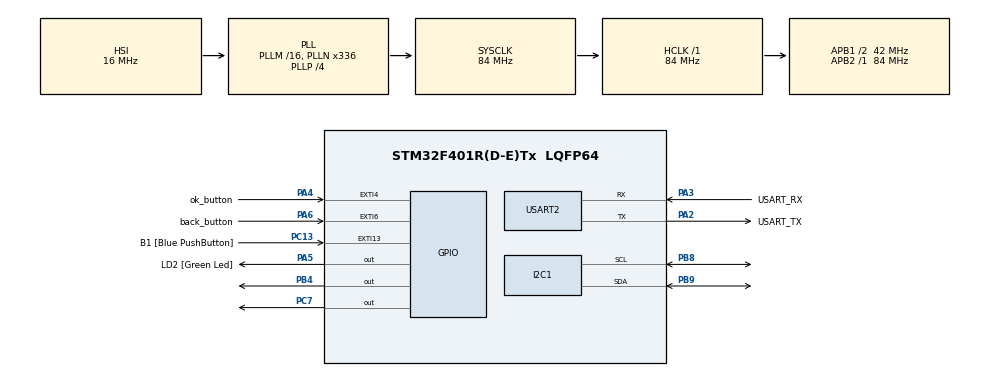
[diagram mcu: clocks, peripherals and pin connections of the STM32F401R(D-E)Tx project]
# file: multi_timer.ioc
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I2C1.I2C_Mode=I2C_Standard
Mcu.Family=STM32F4
Mcu.Name=STM32F401R(D-E)Tx
Mcu.Package=LQFP64
NVIC.EXTI15_10_IRQn=true\:0\:0\:false\:false\:true\:true\:true\:true
NVIC.EXTI4_IRQn=true\:0\:0\:false\:false\:true\:true\:true\:true
NVIC.EXTI9_5_IRQn=true\:0\:0\:false\:false\:true\:true\:true\:true
NVIC.PriorityGroup=NVIC_PRIORITYGROUP_0
NVIC.TIM1_BRK_TIM9_IRQn=true\:0\:0\:false\:false\:true\:true\:true\:true
NVIC.TIM2_IRQn=true\:0\:0\:false\:false\:true\:true\:true\:true
NVIC.TIM3_IRQn=true\:0\:0\:false\:false\:true\:true\:true\:true
NVIC.TIM4_IRQn=true\:0\:0\:false\:false\:true\:true\:true\:true
NVIC.TIM5_IRQn=true\:0\:0\:false\:false\:true\:true\:true\:true
PA13.GPIO_Label=TMS
PA13.Mode=Serial_Wire
PA13.Signal=SYS_JTMS-SWDIO
PA14.GPIO_Label=TCK
PA14.Mode=Serial_Wire
PA14.Signal=SYS_JTCK-SWCLK
PA2.GPIO_Label=USART_TX
PA2.GPIO_Mode=GPIO_MODE_AF_PP
PA2.GPIO_PuPd=GPIO_NOPULL
PA2.GPIO_Speed=GPIO_SPEED_FREQ_LOW
PA2.Mode=Asynchronous
PA2.Signal=USART2_TX
PA3.GPIO_Label=USART_RX
PA3.GPIO_Mode=GPIO_MODE_AF_PP
PA3.GPIO_PuPd=GPIO_NOPULL
PA3.GPIO_Speed=GPIO_SPEED_FREQ_LOW
PA3.Mode=Asynchronous
PA3.Signal=USART2_RX
PA4.GPIO_Label=ok_button
PA4.GPIO_ModeDefaultEXTI=GPIO_MODE_IT_RISING_FALLING
PA4.GPIO_PuPd=GPIO_PULLUP
PA4.Signal=GPXTI4
PA5.GPIO_Label=LD2 [Green Led]
PA5.GPIO_Mode=GPIO_MODE_OUTPUT_PP
PA5.GPIO_PuPd=GPIO_NOPULL
PA5.GPIO_Speed=GPIO_SPEED_FREQ_LOW
PA5.PinState=GPIO_PIN_SET
PA5.Signal=GPIO_Output
PA6.GPIO_Label=back_button
PA6.GPIO_ModeDefaultEXTI=GPIO_MODE_IT_RISING_FALLING
PA6.GPIO_PuPd=GPIO_PULLUP
PA6.Signal=GPXTI6
PB3.GPIO_Label=SWO
PB3.Signal=SYS_JTDO-SWO
PB4.PinState=GPIO_PIN_RESET
PB4.Signal=GPIO_Output
PB8.Mode=I2C
PB8.Signal=I2C1_SCL
PB9.Mode=I2C
PB9.Signal=I2C1_SDA
PC13-ANTI_TAMP.GPIO_Label=B1 [Blue PushButton]
PC13-ANTI_TAMP.GPIO_ModeDefaultEXTI=GPIO_MODE_IT_FALLING
PC13-ANTI_TAMP.GPIO_PuPd=GPIO_NOPULL
PC13-ANTI_TAMP.Signal=GPXTI13
PC14-OSC32_IN.Mode=LSE-External-Oscillator
PC14-OSC32_IN.Signal=RCC_OSC32_IN
PC15-OSC32_OUT.Mode=LSE-External-Oscillator
PC15-OSC32_OUT.Signal=RCC_OSC32_OUT
PC7.PinState=GPIO_PIN_RESET
PC7.Signal=GPIO_Output
PH0\ -\ OSC_IN.Mode=HSE-External-Clock-Source
PH0\ -\ OSC_IN.Signal=RCC_OSC_IN
PH1\ -\ OSC_OUT.Mode=HSE-External-Clock-Source
PH1\ -\ OSC_OUT.Signal=RCC_OSC_OUT
ProjectManager.HeapSize=0x200
ProjectManager.StackSize=0x400
ProjectManager.TargetToolchain=STM32CubeIDE
RCC.48MHZClocksFreq_Value=48000000
RCC.AHBFreq_Value=84000000
RCC.APB1CLKDivider=RCC_HCLK_DIV2
RCC.APB1Freq_Value=42000000
RCC.APB1TimFreq_Value=84000000
RCC.APB2Freq_Value=84000000
RCC.APB2TimFreq_Value=84000000
RCC.CortexFreq_Value=84000000
RCC.HCLKFreq_Value=84000000
RCC.HSE_VALUE=8000000
RCC.HSI_VALUE=16000000
RCC.PLLN=336
RCC.PLLP=RCC_PLLP_DIV4
RCC.PLLQ=7
RCC.SYSCLKFreq_VALUE=84000000
RCC.SYSCLKSource=RCC_SYSCLKSOURCE_PLLCLK
RCC.VCOOutputFreq_Value=336000000
TIM2.Period=1000-1
TIM2.Prescaler=84-1
TIM3.Period=1000-1
TIM3.Prescaler=83
TIM4.Period=5000-1
TIM4.Prescaler=84-1
TIM5.Period=5000-1
TIM5.Prescaler=83
TIM9.Period=1000-1
TIM9.Prescaler=84-1
USART2.VirtualMode=VM_ASYNC
VP_TIM2_VS_ClockSourceINT.Mode=Internal
VP_TIM3_VS_ClockSourceINT.Mode=Internal
VP_TIM4_VS_ClockSourceINT.Mode=Internal
VP_TIM5_VS_ClockSourceINT.Mode=Internal
VP_TIM9_VS_ClockSourceINT.Mode=Internal
board=NUCLEO-F401RE

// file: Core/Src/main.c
/* USER CODE BEGIN Header */
/**
  ******************************************************************************
  * @file           : main.c
  * @brief          : Main program body
  ******************************************************************************
  * @attention
  *
  * Copyright (c) 2025 STMicroelectronics.
  * All rights reserved.
  *
  * This software is licensed under terms that can be found in the LICENSE file
  * in the root directory of this software component.
  * If no LICENSE file comes with this software, it is provided AS-IS.
  *
  ******************************************************************************
  */
/* USER CODE END Header */
#include "main.h"

/* USER CODE BEGIN Includes */
#include <stdio.h>
#include "string.h"
#include <stdlib.h>
#include "main.h"

#include "state_machine.h"

#include "ssd1306.h"
#include "ssd1306_conf.h"
#include "ssd1306_tests.h"

/* USER CODE END Includes */

/* USER CODE BEGIN PD */

volatile uint32_t okButtonPressTime = 0;	// track the time the button has been pressed for
volatile uint32_t okButtonReleaseTime = 0;	// track the time the button has been released for
volatile uint32_t okButtonPressedDuration = 0;
volatile uint32_t okButtonReleasedDuration = 0;
volatile uint8_t okButtonState = 0;	// boolean to track button state, 0 is released, 1 is pressed
volatile uint8_t okDebounceFlag = 0;	// used to prevent debouncing

volatile uint32_t backButtonPressTime = 0;	// track the time the button has been pressed for
volatile uint32_t backButtonReleaseTime = 0;	// track the time the button has been released for
volatile uint32_t backButtonPressedDuration = 0;
volatile uint32_t backButtonReleasedDuration = 0;
volatile uint8_t backButtonState = 0;	// boolean to track button state, 0 is released, 1 is pressed
volatile uint8_t backDebounceFlag = 0;	// used to prevent debouncing

extern uint8_t okJustPressed;
extern uint8_t backJustPressed;
extern uint32_t timeArray[6];
extern uint8_t timerPaused;

extern uint32_t REFRESH_RATE;

extern uint32_t primedTimerCounter;
extern uint32_t primedDelay;
extern uint8_t primed;	// for tracking if the stopwatch is primed
extern uint8_t primedOutput;	// for tracking if the stopwatch output has already been done
extern uint8_t outputActive;

extern uint32_t outputTriggerTime;
extern uint32_t OUTPUT_TIME;

/* USER CODE END PD */

I2C_HandleTypeDef hi2c1;

TIM_HandleTypeDef htim2;
TIM_HandleTypeDef htim3;
TIM_HandleTypeDef htim4;
TIM_HandleTypeDef htim5;
TIM_HandleTypeDef htim9;

UART_HandleTypeDef huart2;

void SystemClock_Config(void);
static void MX_GPIO_Init(void);
static void MX_USART2_UART_Init(void);
static void MX_TIM4_Init(void);
static void MX_TIM5_Init(void);
static void MX_TIM3_Init(void);
static void MX_TIM2_Init(void);
static void MX_I2C1_Init(void);
static void MX_TIM9_Init(void);

/* USER CODE BEGIN 0 */

//void update_time(){
//
//	if (time_array[0] > 1000){		// if past 1000 ms, increment seconds
//		time_array[0] = 0;
//		time_array[1]++;
//
//		if (time_array[1] >= 60){		// if past 60 seconds, increment minutes
//			time_array[1] = 0;
//			time_array[2]++;
//
//			if (time_array[2] >= 60){		// if past 60 minutes, increment hours
//				time_array[2] = 0;
//				time_array[3]++;
//
//				if (time_array[3] >= 24){		// if past 24 hours, increment days
//					time_array[3] = 0;
//					time_array[4]++;
//				}
//			}
//		}
//	}
//}

/* USER CODE END 0 */

int main(void)
{

  /* MCU Configuration--------------------------------------------------------*/

  /* Reset of all peripherals, Initializes the Flash interface and the Systick. */
  HAL_Init();

  /* Configure the system clock */
  SystemClock_Config();

  /* Initialize all configured peripherals */
  MX_GPIO_Init();
  MX_USART2_UART_Init();
  MX_TIM4_Init();
  MX_TIM5_Init();
  MX_TIM3_Init();
  MX_TIM2_Init();
  MX_I2C1_Init();
  MX_TIM9_Init();
  /* USER CODE BEGIN 2 */

  uint32_t currentSec = 0;
  uint32_t lastPrint = 0;

  char msg1[] = "Hello World\r\n";
  HAL_UART_Transmit(&huart2, (const uint8_t*) msg1, strlen(msg1), HAL_MAX_DELAY);

  ssd1306_Init();
  ssd1306_Fill(Black);
  ssd1306_UpdateScreen();

  /* USER CODE END 2 */

  /* Infinite loop */
  /* USER CODE BEGIN WHILE */
  while (1)
  {
//	  currentSec = time_array[1];
//	  update_time();
//	  ssd1306_TestAll();

	  // only print every 500 ms
	  if (HAL_GetTick() - lastPrint >= REFRESH_RATE){
		  lastPrint = HAL_GetTick();
		  updateState();
	  }

    /* USER CODE END WHILE */

    /* USER CODE BEGIN 3 */
  }

    /* USER CODE BEGIN 3 */
  /* USER CODE END 3 */
}

void SystemClock_Config(void)
{
  RCC_OscInitTypeDef RCC_OscInitStruct = {0};
  RCC_ClkInitTypeDef RCC_ClkInitStruct = {0};

  /** Configure the main internal regulator output voltage
  */
  __HAL_RCC_PWR_CLK_ENABLE();
  __HAL_PWR_VOLTAGESCALING_CONFIG(PWR_REGULATOR_VOLTAGE_SCALE2);

  /** Initializes the RCC Oscillators according to the specified parameters
  * in the RCC_OscInitTypeDef structure.
  */
  RCC_OscInitStruct.OscillatorType = RCC_OSCILLATORTYPE_HSI;
  RCC_OscInitStruct.HSIState = RCC_HSI_ON;
  RCC_OscInitStruct.HSICalibrationValue = RCC_HSICALIBRATION_DEFAULT;
  RCC_OscInitStruct.PLL.PLLState = RCC_PLL_ON;
  RCC_OscInitStruct.PLL.PLLSource = RCC_PLLSOURCE_HSI;
  RCC_OscInitStruct.PLL.PLLM = 16;
  RCC_OscInitStruct.PLL.PLLN = 336;
  RCC_OscInitStruct.PLL.PLLP = RCC_PLLP_DIV4;
  RCC_OscInitStruct.PLL.PLLQ = 7;
  if (HAL_RCC_OscConfig(&RCC_OscInitStruct) != HAL_OK)
  {
    Error_Handler();
  }

  /** Initializes the CPU, AHB and APB buses clocks
  */
  RCC_ClkInitStruct.ClockType = RCC_CLOCKTYPE_HCLK|RCC_CLOCKTYPE_SYSCLK
                              |RCC_CLOCKTYPE_PCLK1|RCC_CLOCKTYPE_PCLK2;
  RCC_ClkInitStruct.SYSCLKSource = RCC_SYSCLKSOURCE_PLLCLK;
  RCC_ClkInitStruct.AHBCLKDivider = RCC_SYSCLK_DIV1;
  RCC_ClkInitStruct.APB1CLKDivider = RCC_HCLK_DIV2;
  RCC_ClkInitStruct.APB2CLKDivider = RCC_HCLK_DIV1;

  if (HAL_RCC_ClockConfig(&RCC_ClkInitStruct, FLASH_LATENCY_2) != HAL_OK)
  {
    Error_Handler();
  }
}

static void MX_I2C1_Init(void)
{

  hi2c1.Instance = I2C1;
  hi2c1.Init.ClockSpeed = 100000;
  hi2c1.Init.DutyCycle = I2C_DUTYCYCLE_2;
  hi2c1.Init.OwnAddress1 = 0;
  hi2c1.Init.AddressingMode = I2C_ADDRESSINGMODE_7BIT;
  hi2c1.Init.DualAddressMode = I2C_DUALADDRESS_DISABLE;
  hi2c1.Init.OwnAddress2 = 0;
  hi2c1.Init.GeneralCallMode = I2C_GENERALCALL_DISABLE;
  hi2c1.Init.NoStretchMode = I2C_NOSTRETCH_DISABLE;
  if (HAL_I2C_Init(&hi2c1) != HAL_OK)
  {
    Error_Handler();
  }

}

static void MX_TIM2_Init(void)
{

  TIM_ClockConfigTypeDef sClockSourceConfig = {0};
  TIM_MasterConfigTypeDef sMasterConfig = {0};

  htim2.Instance = TIM2;
  htim2.Init.Prescaler = 84-1;
  htim2.Init.CounterMode = TIM_COUNTERMODE_UP;
  htim2.Init.Period = 1000-1;
  htim2.Init.ClockDivision = TIM_CLOCKDIVISION_DIV1;
  htim2.Init.AutoReloadPreload = TIM_AUTORELOAD_PRELOAD_DISABLE;
  if (HAL_TIM_Base_Init(&htim2) != HAL_OK)
  {
    Error_Handler();
  }
  sClockSourceConfig.ClockSource = TIM_CLOCKSOURCE_INTERNAL;
  if (HAL_TIM_ConfigClockSource(&htim2, &sClockSourceConfig) != HAL_OK)
  {
    Error_Handler();
  }
  sMasterConfig.MasterOutputTrigger = TIM_TRGO_RESET;
  sMasterConfig.MasterSlaveMode = TIM_MASTERSLAVEMODE_DISABLE;
  if (HAL_TIMEx_MasterConfigSynchronization(&htim2, &sMasterConfig) != HAL_OK)
  {
    Error_Handler();
  }

}

static void MX_TIM3_Init(void)
{

  TIM_ClockConfigTypeDef sClockSourceConfig = {0};
  TIM_MasterConfigTypeDef sMasterConfig = {0};

  htim3.Instance = TIM3;
  htim3.Init.Prescaler = 83;
  htim3.Init.CounterMode = TIM_COUNTERMODE_UP;
  htim3.Init.Period = 1000-1;
  htim3.Init.ClockDivision = TIM_CLOCKDIVISION_DIV1;
  htim3.Init.AutoReloadPreload = TIM_AUTORELOAD_PRELOAD_DISABLE;
  if (HAL_TIM_Base_Init(&htim3) != HAL_OK)
  {
    Error_Handler();
  }
  sClockSourceConfig.ClockSource = TIM_CLOCKSOURCE_INTERNAL;
  if (HAL_TIM_ConfigClockSource(&htim3, &sClockSourceConfig) != HAL_OK)
  {
    Error_Handler();
  }
  sMasterConfig.MasterOutputTrigger = TIM_TRGO_RESET;
  sMasterConfig.MasterSlaveMode = TIM_MASTERSLAVEMODE_DISABLE;
  if (HAL_TIMEx_MasterConfigSynchronization(&htim3, &sMasterConfig) != HAL_OK)
  {
    Error_Handler();
  }

}

static void MX_TIM4_Init(void)
{

  TIM_ClockConfigTypeDef sClockSourceConfig = {0};
  TIM_MasterConfigTypeDef sMasterConfig = {0};

  htim4.Instance = TIM4;
  htim4.Init.Prescaler = 84-1;
  htim4.Init.CounterMode = TIM_COUNTERMODE_UP;
  htim4.Init.Period = 5000-1;
  htim4.Init.ClockDivision = TIM_CLOCKDIVISION_DIV1;
  htim4.Init.AutoReloadPreload = TIM_AUTORELOAD_PRELOAD_DISABLE;
  if (HAL_TIM_Base_Init(&htim4) != HAL_OK)
  {
    Error_Handler();
  }
  sClockSourceConfig.ClockSource = TIM_CLOCKSOURCE_INTERNAL;
  if (HAL_TIM_ConfigClockSource(&htim4, &sClockSourceConfig) != HAL_OK)
  {
    Error_Handler();
  }
  sMasterConfig.MasterOutputTrigger = TIM_TRGO_RESET;
  sMasterConfig.MasterSlaveMode = TIM_MASTERSLAVEMODE_DISABLE;
  if (HAL_TIMEx_MasterConfigSynchronization(&htim4, &sMasterConfig) != HAL_OK)
  {
    Error_Handler();
  }

}

static void MX_TIM5_Init(void)
{

  TIM_ClockConfigTypeDef sClockSourceConfig = {0};
  TIM_MasterConfigTypeDef sMasterConfig = {0};

  htim5.Instance = TIM5;
  htim5.Init.Prescaler = 83;
  htim5.Init.CounterMode = TIM_COUNTERMODE_UP;
  htim5.Init.Period = 5000-1;
  htim5.Init.ClockDivision = TIM_CLOCKDIVISION_DIV1;
  htim5.Init.AutoReloadPreload = TIM_AUTORELOAD_PRELOAD_DISABLE;
  if (HAL_TIM_Base_Init(&htim5) != HAL_OK)
  {
    Error_Handler();
  }
  sClockSourceConfig.ClockSource = TIM_CLOCKSOURCE_INTERNAL;
  if (HAL_TIM_ConfigClockSource(&htim5, &sClockSourceConfig) != HAL_OK)
  {
    Error_Handler();
  }
  sMasterConfig.MasterOutputTrigger = TIM_TRGO_RESET;
  sMasterConfig.MasterSlaveMode = TIM_MASTERSLAVEMODE_DISABLE;
  if (HAL_TIMEx_MasterConfigSynchronization(&htim5, &sMasterConfig) != HAL_OK)
  {
    Error_Handler();
  }

}

static void MX_TIM9_Init(void)
{

  TIM_ClockConfigTypeDef sClockSourceConfig = {0};

  htim9.Instance = TIM9;
  htim9.Init.Prescaler = 84-1;
  htim9.Init.CounterMode = TIM_COUNTERMODE_UP;
  htim9.Init.Period = 1000-1;
  htim9.Init.ClockDivision = TIM_CLOCKDIVISION_DIV1;
  htim9.Init.AutoReloadPreload = TIM_AUTORELOAD_PRELOAD_DISABLE;
  if (HAL_TIM_Base_Init(&htim9) != HAL_OK)
  {
    Error_Handler();
  }
  sClockSourceConfig.ClockSource = TIM_CLOCKSOURCE_INTERNAL;
  if (HAL_TIM_ConfigClockSource(&htim9, &sClockSourceConfig) != HAL_OK)
  {
    Error_Handler();
  }

}

static void MX_USART2_UART_Init(void)
{

  huart2.Instance = USART2;
  huart2.Init.BaudRate = 115200;
  huart2.Init.WordLength = UART_WORDLENGTH_8B;
  huart2.Init.StopBits = UART_STOPBITS_1;
  huart2.Init.Parity = UART_PARITY_NONE;
  huart2.Init.Mode = UART_MODE_TX_RX;
  huart2.Init.HwFlowCtl = UART_HWCONTROL_NONE;
  huart2.Init.OverSampling = UART_OVERSAMPLING_16;
  if (HAL_UART_Init(&huart2) != HAL_OK)
  {
    Error_Handler();
  }

}

static void MX_GPIO_Init(void)
{
  GPIO_InitTypeDef GPIO_InitStruct = {0};

  /* GPIO Ports Clock Enable */
  __HAL_RCC_GPIOC_CLK_ENABLE();
  __HAL_RCC_GPIOH_CLK_ENABLE();
  __HAL_RCC_GPIOA_CLK_ENABLE();
  __HAL_RCC_GPIOB_CLK_ENABLE();

  /*Configure GPIO pin Output Level */
  HAL_GPIO_WritePin(LD2_GPIO_Port, LD2_Pin, GPIO_PIN_SET);

  /*Configure GPIO pin Output Level */
  HAL_GPIO_WritePin(GPIOC, GPIO_PIN_7, GPIO_PIN_RESET);

  /*Configure GPIO pin Output Level */
  HAL_GPIO_WritePin(GPIOB, GPIO_PIN_4, GPIO_PIN_RESET);

  /*Configure GPIO pin : B1_Pin */
  GPIO_InitStruct.Pin = B1_Pin;
  GPIO_InitStruct.Mode = GPIO_MODE_IT_FALLING;
  GPIO_InitStruct.Pull = GPIO_NOPULL;
  HAL_GPIO_Init(B1_GPIO_Port, &GPIO_InitStruct);

  /*Configure GPIO pins : ok_button_Pin back_button_Pin */
  GPIO_InitStruct.Pin = ok_button_Pin|back_button_Pin;
  GPIO_InitStruct.Mode = GPIO_MODE_IT_RISING_FALLING;
  GPIO_InitStruct.Pull = GPIO_PULLUP;
  HAL_GPIO_Init(GPIOA, &GPIO_InitStruct);

  /*Configure GPIO pin : LD2_Pin */
  GPIO_InitStruct.Pin = LD2_Pin;
  GPIO_InitStruct.Mode = GPIO_MODE_OUTPUT_PP;
  GPIO_InitStruct.Pull = GPIO_NOPULL;
  GPIO_InitStruct.Speed = GPIO_SPEED_FREQ_LOW;
  HAL_GPIO_Init(LD2_GPIO_Port, &GPIO_InitStruct);

  /*Configure GPIO pin : PC7 */
  GPIO_InitStruct.Pin = GPIO_PIN_7;
  GPIO_InitStruct.Mode = GPIO_MODE_OUTPUT_PP;
  GPIO_InitStruct.Pull = GPIO_NOPULL;
  GPIO_InitStruct.Speed = GPIO_SPEED_FREQ_LOW;
  HAL_GPIO_Init(GPIOC, &GPIO_InitStruct);

  /*Configure GPIO pin : PB4 */
  GPIO_InitStruct.Pin = GPIO_PIN_4;
  GPIO_InitStruct.Mode = GPIO_MODE_OUTPUT_PP;
  GPIO_InitStruct.Pull = GPIO_NOPULL;
  GPIO_InitStruct.Speed = GPIO_SPEED_FREQ_LOW;
  HAL_GPIO_Init(GPIOB, &GPIO_InitStruct);

  /* EXTI interrupt init*/
  HAL_NVIC_SetPriority(EXTI4_IRQn, 0, 0);
  HAL_NVIC_EnableIRQ(EXTI4_IRQn);

  HAL_NVIC_SetPriority(EXTI9_5_IRQn, 0, 0);
  HAL_NVIC_EnableIRQ(EXTI9_5_IRQn);

  HAL_NVIC_SetPriority(EXTI15_10_IRQn, 0, 0);
  HAL_NVIC_EnableIRQ(EXTI15_10_IRQn);

}

/* USER CODE BEGIN 4 */

int _write(int file, char *ptr, int len) {
    HAL_UART_Transmit(&huart2, (uint8_t*)ptr, len, HAL_MAX_DELAY);
    return len;
}

// not going to use this function, will deal with it right in the ISR
void HAL_TIM_PeriodElapsedCallback(TIM_HandleTypeDef *htim)
{

    if (htim->Instance == TIM9) {  // 500ms output timer

    	outputTriggerTime++;

    	if (outputTriggerTime >= OUTPUT_TIME){
            HAL_GPIO_WritePin(BUZZER_LED_GPIO_Port, BUZZER_LED_Pin, GPIO_PIN_RESET);
            HAL_GPIO_WritePin(HAPTIC_LED_GPIO_Port, HAPTIC_LED_Pin, GPIO_PIN_RESET);
            outputTriggerTime = 0;
            HAL_TIM_Base_Stop_IT(&htim9);
    	}

    }

	if (htim->Instance == TIM2){
		if (currentState == STOPWATCH_PRIMED && primed){
			primedTimerCounter++;
			if (primedTimerCounter >= primedDelay){
//				printf("exceed time \r\n");
                HAL_TIM_Base_Stop_IT(&htim2);
                currentState = STOPWATCH_RUN;
                primed = 0;

                primedOutput = 0;
                outputActive = 0;
//                printf("Stopwatch started!\r\n");
			}
		}
	}
    if (htim->Instance == TIM3)  // Check if TIM3 triggered the interrupt
    {
    	if (!timerPaused || currentState == STOPWATCH_RUN){  // only increment if timer is not paused
    		timeArray[0]++;
    	}

    	// adjust the time array
    	if (timeArray[0] > 1000){		// if past 1000 ms, increment seconds
    			timeArray[0] = 0;
//    			printf("increment counter\r\n");
    			timeArray[1]++;

    			if (timeArray[1] >= 60){		// if past 60 seconds, increment minutes
    				timeArray[1] = 0;
    				timeArray[2]++;

    				if (timeArray[2] >= 60){		// if past 60 minutes, increment hours
    					timeArray[2] = 0;
    					timeArray[3]++;

    					if (timeArray[3] >= 24){		// if past 24 hours, increment days
    						timeArray[3] = 0;
    						timeArray[4]++;

    						if (timeArray[4] >= 7){
    							timeArray[4] = 0;
    							timeArray[5]++;
    						}
    					}
    				}
    			}
    		}

    }

    if (htim->Instance == TIM5){
      	HAL_TIM_Base_Stop_IT(&htim5);	// stop debounce timer
		backDebounceFlag = 0;	// clear debounce flag
		HAL_GPIO_TogglePin(GPIOA, GPIO_PIN_5);

		if (HAL_GPIO_ReadPin(GPIOA, GPIO_PIN_6) == GPIO_PIN_RESET){	// if button still pressed
			if (backButtonState == 0){		// only register the press if there was a change in state (0 -> 1)

				backJustPressed = 1;

				backButtonPressTime = HAL_GetTick();
				backButtonState = 1;
				backButtonReleasedDuration = backButtonPressTime - backButtonReleaseTime;

//				char msg[60];
//				sprintf(msg, "back button Released for: %lu\r\n", backButtonReleasedDuration);
//				HAL_UART_Transmit(&huart2, (const uint8_t*) msg, strlen(msg), HAL_MAX_DELAY);
			}
		}

		else if (HAL_GPIO_ReadPin(GPIOA, GPIO_PIN_6) == GPIO_PIN_SET){		// if the button is released
			if (backButtonState == 1){	// only register the press if there was a change in state (0 -> 1)
				backButtonReleaseTime = HAL_GetTick();
				backButtonState = 0;
				backButtonPressedDuration = backButtonReleaseTime - backButtonPressTime;

//				char msg[60];
//				sprintf(msg, "back button Pressed for: %lu\r\n", backButtonPressedDuration);
//				HAL_UART_Transmit(&huart2, (const uint8_t*) msg, strlen(msg), HAL_MAX_DELAY);

			}
		}

    }

    if (htim->Instance == TIM4){

    	// debounce
    	HAL_TIM_Base_Stop_IT(&htim4);	// stop debounce timer
    	okDebounceFlag = 0;	// clear debounce flag
    	HAL_GPIO_TogglePin(GPIOA, GPIO_PIN_5);

    	if (HAL_GPIO_ReadPin(GPIOA, GPIO_PIN_4) == GPIO_PIN_RESET){	// if button still pressed
    		if (okButtonState == 0){		// only register the press if there was a change in state (0 -> 1)
    			okJustPressed = 1;
    			okButtonPressTime = HAL_GetTick();
				okButtonState = 1;
				okButtonReleasedDuration = okButtonPressTime - okButtonReleaseTime;

//				char msg[50];
//				sprintf(msg, "ok button Released for: %lu\r\n", okButtonReleasedDuration);
//				HAL_UART_Transmit(&huart2, (const uint8_t*) msg, strlen(msg), HAL_MAX_DELAY);
    		}
    	}

    	else if (HAL_GPIO_ReadPin(GPIOA, GPIO_PIN_4) == GPIO_PIN_SET){		// if the button is released
    		if (okButtonState == 1){	// only register the press if there was a change in state (0 -> 1)

    			okButtonReleaseTime = HAL_GetTick();
    			okButtonState = 0;
    			okButtonPressedDuration = okButtonReleaseTime - okButtonPressTime;

//    			char msg[50];
//    			sprintf(msg, "ok button Pressed for: %lu\r\n", okButtonPressedDuration);
//    			HAL_UART_Transmit(&huart2, (const uint8_t*) msg, strlen(msg), HAL_MAX_DELAY);

    		}
    	}

    }
}

void HAL_GPIO_EXTI_Callback(uint16_t GPIO_Pin){

	if (GPIO_Pin == GPIO_PIN_4){

		if (okDebounceFlag == 0){
			okDebounceFlag = 1;
		}

		HAL_TIM_Base_Start_IT(&htim4);

//		char msg1[] = "Button Pressed\r\n";
//		HAL_UART_Transmit(&huart2, (const uint8_t*) msg1, strlen(msg1), HAL_MAX_DELAY);
	}

	if (GPIO_Pin == GPIO_PIN_6){
		if (backDebounceFlag == 0){
			backDebounceFlag = 1;
		}
		HAL_TIM_Base_Start_IT(&htim5);

	}

	// using the built in button
//	if (GPIO_Pin == GPIO_PIN_13){
//		HAL_GPIO_TogglePin(GPIOA, GPIO_PIN_5);
//		char msg1[] = "Button Pressed\r\n";
//		HAL_UART_Transmit(&huart2, (const uint8_t*) msg1, strlen(msg1), HAL_MAX_DELAY);
//
//	}

}

/* USER CODE END 4 */

void Error_Handler(void)
{
  __disable_irq();
  while (1)
  {
  }
}
